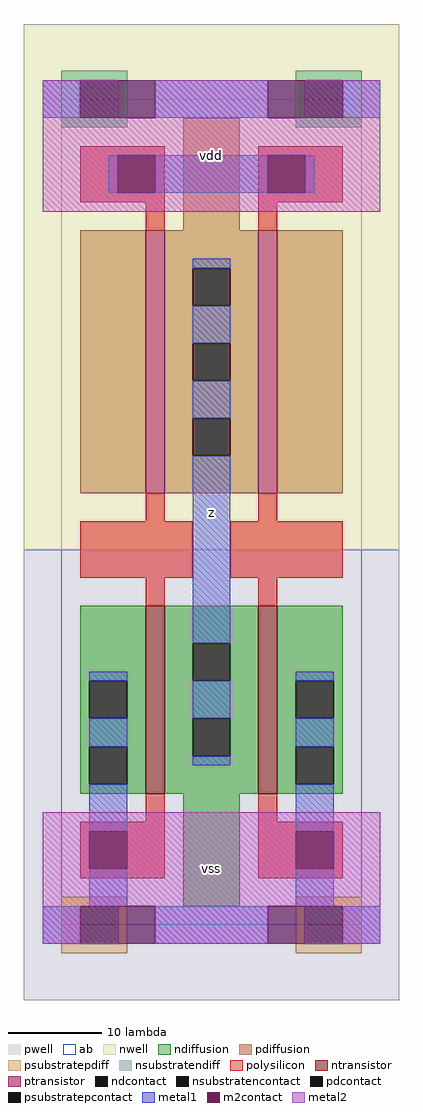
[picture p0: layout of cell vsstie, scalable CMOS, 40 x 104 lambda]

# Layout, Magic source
magic
tech scmos
<< ab >>
rect 0 0 32 88
<< pwell >>
rect -4 -8 36 40
<< nwell >>
rect -4 40 36 96
<< polysilicon >>
rect 2 77 11 83
rect 9 74 11 77
rect 21 77 30 83
rect 21 74 23 77
rect 9 43 11 46
rect 21 43 23 46
rect 2 37 14 43
rect 18 37 30 43
rect 9 34 11 37
rect 21 34 23 37
rect 9 11 11 14
rect 2 5 11 11
rect 21 11 23 14
rect 21 5 30 11
<< ndiffusion >>
rect 2 26 9 34
rect 2 22 3 26
rect 7 22 9 26
rect 2 19 9 22
rect 2 15 3 19
rect 7 15 9 19
rect 2 14 9 15
rect 11 30 21 34
rect 11 26 14 30
rect 18 26 21 30
rect 11 22 21 26
rect 11 18 14 22
rect 18 18 21 22
rect 11 14 21 18
rect 23 26 30 34
rect 23 22 25 26
rect 29 22 30 26
rect 23 19 30 22
rect 23 15 25 19
rect 29 15 30 19
rect 23 14 30 15
rect 13 2 19 14
<< pdiffusion >>
rect 13 74 19 86
rect 2 46 9 74
rect 11 70 21 74
rect 11 66 14 70
rect 18 66 21 70
rect 11 62 21 66
rect 11 58 14 62
rect 18 58 21 62
rect 11 54 21 58
rect 11 50 14 54
rect 18 50 21 54
rect 11 46 21 50
rect 23 46 30 74
<< metal1 >>
rect -2 86 2 90
rect 10 86 22 90
rect 30 86 34 90
rect 5 78 6 82
rect 10 78 22 82
rect 26 78 27 82
rect 14 70 18 71
rect 14 62 18 66
rect 14 54 18 58
rect 14 30 18 50
rect 3 26 7 27
rect 3 19 7 22
rect 14 22 18 26
rect 14 17 18 18
rect 25 26 29 27
rect 25 19 29 22
rect 3 10 7 15
rect 3 2 7 6
rect 25 10 29 15
rect 25 2 29 6
rect -2 -2 2 2
rect 10 -2 22 2
rect 30 -2 34 2
<< metal2 >>
rect -2 86 6 90
rect 10 86 22 90
rect 26 86 34 90
rect -2 82 34 86
rect -2 78 6 82
rect 10 78 22 82
rect 26 78 34 82
rect -2 76 34 78
rect -2 10 34 12
rect -2 6 3 10
rect 7 6 25 10
rect 29 6 34 10
rect -2 2 34 6
rect -2 -2 6 2
rect 10 -2 22 2
rect 26 -2 34 2
<< ntransistor >>
rect 9 14 11 34
rect 21 14 23 34
<< ptransistor >>
rect 9 46 11 74
rect 21 46 23 74
<< ndcontact >>
rect 3 22 7 26
rect 3 15 7 19
rect 14 26 18 30
rect 14 18 18 22
rect 25 22 29 26
rect 25 15 29 19
<< pdcontact >>
rect 14 66 18 70
rect 14 58 18 62
rect 14 50 18 54
<< m2contact >>
rect 6 86 10 90
rect 22 86 26 90
rect 6 78 10 82
rect 22 78 26 82
rect 3 6 7 10
rect 25 6 29 10
rect 6 -2 10 2
rect 22 -2 26 2
<< psubstratepcontact >>
rect 2 -2 6 2
rect 26 -2 30 2
<< nsubstratencontact >>
rect 2 86 6 90
rect 26 86 30 90
<< psubstratepdiff >>
rect 0 2 7 3
rect 25 2 32 3
rect 0 -2 2 2
rect 6 -2 7 2
rect 0 -3 7 -2
rect 25 -2 26 2
rect 30 -2 32 2
rect 25 -3 32 -2
<< nsubstratendiff >>
rect 0 90 7 91
rect 0 86 2 90
rect 6 86 7 90
rect 25 90 32 91
rect 25 86 26 90
rect 30 86 32 90
rect 0 85 7 86
rect 25 85 32 86
<< labels >>
rlabel metal1 16 44 16 44 6 z
rlabel metal2 16 6 16 6 6 vss
rlabel metal2 16 82 16 82 6 vdd
<< end >>
